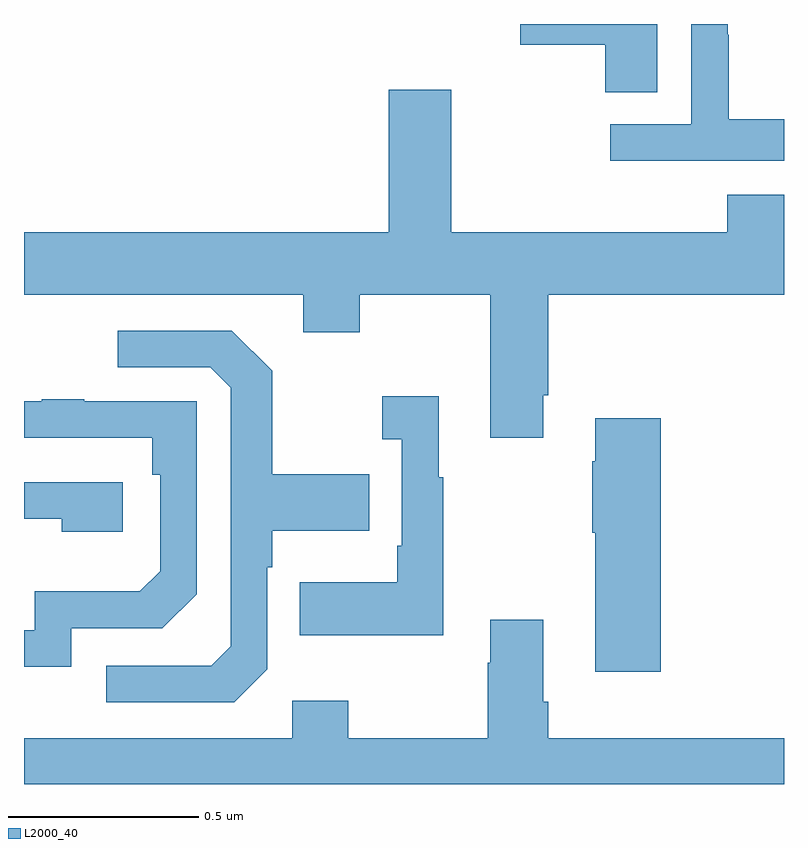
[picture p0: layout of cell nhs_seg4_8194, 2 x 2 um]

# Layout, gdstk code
import gdstk
lib = gdstk.Library(unit=1e-6, precision=1e-09)
def P(c, l, *ps):  # polygons
    for p in ps: c.add(gdstk.Polygon(p, *l))
L2000_40 = (2000, 40)

nhs_seg4_8194 = lib.new_cell('nhs_seg4_8194')
P(nhs_seg4_8194, L2000_40, [(214,762.649),(213.855,762.649),(213.855,762.872),(213.852,762.872),(213.852,762.9),(213.756,762.9),(213.756,762.636),(213.543,762.636),(213.543,762.54),(214,762.54)],
  [(213.667,762.9),(213.306,762.9),(213.306,762.845),(213.529,762.845),(213.529,762.721),(213.667,762.721)],
  [(213.367,761.923),(213.38,761.923),(213.38,762.188),(214,762.188),(214,762.451),(213.851,762.451),(213.851,762.352),(213.124,762.352),(213.124,762.727),(212.96,762.727),(212.96,762.352),(212,762.352),(212,762.188),(212.735,762.188),(212.735,762.089),(212.883,762.089),(212.883,762.188),(213.227,762.188),(213.227,761.811),(213.367,761.811)],
  [(212.64,761.202),(212.64,761.471),(212.653,761.471),(212.653,761.567),(212.909,761.567),(212.909,761.715),(212.653,761.715),(212.653,761.987),(212.547,762.093),(212.247,762.093),(212.247,761.997),(212.49,761.997),(212.544,761.943),(212.544,761.262),(212.493,761.211),(212.217,761.211),(212.217,761.115),(212.553,761.115)],
  [(213.103,761.707),(213.091,761.707),(213.091,761.92),(212.943,761.92),(212.943,761.807),(212.994,761.807),(212.994,761.527),(212.982,761.527),(212.982,761.431),(212.725,761.431),(212.725,761.291),(213.103,761.291)],
  [(212.124,761.31),(212.364,761.31),(212.454,761.4),(212.454,761.907),(212.159,761.907),(212.159,761.912),(212.047,761.912),(212.047,761.907),(212,761.907),(212,761.811),(212.338,761.811),(212.338,761.714),(212.358,761.714),(212.358,761.46),(212.305,761.407),(212.028,761.407),(212.028,761.304),(212,761.304),(212,761.208),(212.124,761.208)],
  [(213.676,761.863),(213.503,761.863),(213.503,761.75),(213.496,761.75),(213.496,761.561),(213.503,761.561),(213.503,761.196),(213.676,761.196)],
  [(212.26,761.694),(212,761.694),(212,761.598),(212.099,761.598),(212.099,761.564),(212.26,761.564)],
  [(213.367,761.116),(213.367,761.332),(213.227,761.332),(213.227,761.219),(213.22,761.219),(213.22,761.02),(212.853,761.02),(212.853,761.119),(212.706,761.119),(212.706,761.02),(212,761.02),(212,760.9),(214,760.9),(214,761.02),(213.38,761.02),(213.38,761.116)])

lib.write_gds('nhs_seg4_8194.gds')
